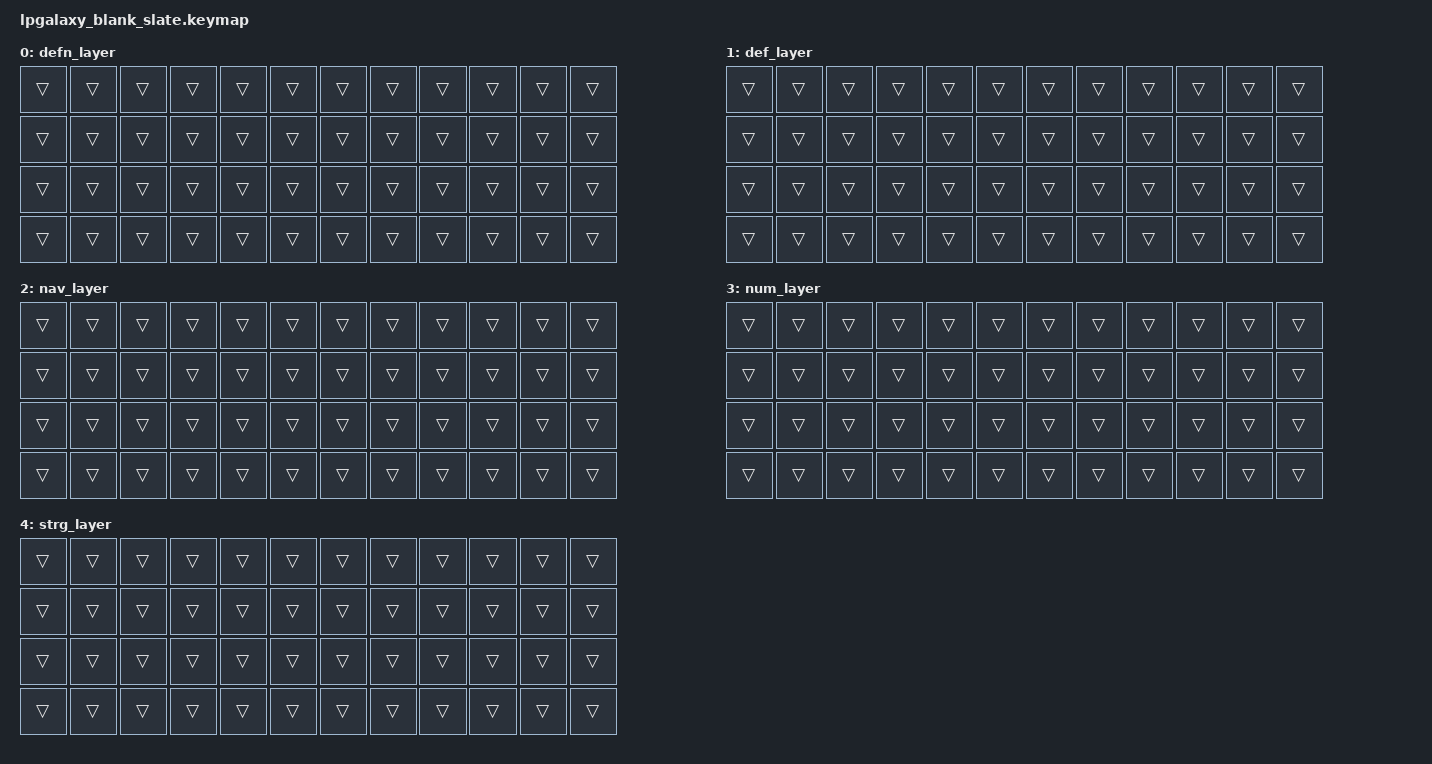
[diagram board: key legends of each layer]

#include <behaviors.dtsi>
#include <dt-bindings/zmk/keys.h>
#include <dt-bindings/zmk/bt.h>
#include <dt-bindings/zmk/outputs.h>

#include "../zmk-nodefree-config/helper.h"
#include "../zmk-nodefree-config/keypos_def/keypos_48keys.h"
//#include "../zmk-nodefree-config/international_chars/german.dtsi"

#define ___ &trans
#define XXX &none

#define DEF         0
#define SHIF        1
#define NAV         2 
#define NUM         3
#define STRG        4

#include "german.dtsi"
#include "functions.dtsi"
#include "combos.dtsi" //muss nach den layerdefs sein
#include "layer_one.dtsi"
#include "layer_two.dtsi"

/*ZMK_LAYER(default_layer,
&kp J	&d_w	&u_accent	&a_accent	&x_accenti		&p_sqbr	&h_brac	&l_slash	&m_cbrac	&g_csqbrac
&c_strg	&t_nav	&i_num	&e_accent	&o_accent		&kp B	&kp N	&r_apos	&s_ss	&enter_strg
&kp F	&kp V	&udia_accent	&kp DE_ADIA	&odia_accent		&kp DE_Y	&td_z_at	&sl 1	&td_comm_quest	&k_q
	___  ___	___	&sl 1	&dot_excl		&kp BSPC	&space_nav		___	___  ___
)*/

ZMK_LAYER(defn_layer,
 ___ ___ ___ ___ ___ ___ ___ ___ ___ ___ ___ ___
  ___ ___ ___ ___ ___ ___ ___ ___ ___ ___ ___ ___
   ___ ___ ___ ___ ___ ___ ___ ___ ___ ___ ___ ___
    ___ ___ ___ ___ ___ ___ ___ ___ ___ ___ ___ ___
    )

ZMK_LAYER(def_layer,
 ___ ___ ___ ___ ___ ___ ___ ___ ___ ___ ___ ___
  ___ ___ ___ ___ ___ ___ ___ ___ ___ ___ ___ ___
   ___ ___ ___ ___ ___ ___ ___ ___ ___ ___ ___ ___
    ___ ___ ___ ___ ___ ___ ___ ___ ___ ___ ___ ___
    )

/*ZMK_LAYER(shifted_layer,
&kp S(J)	&D_W	&U_ACCENT	&A_ACCENT	&X_ACCENTI		&P_larrow	&H_lcurl	&L_bslsh	&M_rcurl	&G_rarrow
&kp S(C) 	&kp S(T)	&kp S(I)	&E_ACCENT	&O_ACCENT		&kp S(B)	&kp S(N)	&kp S(R) 	&kp S(S)	&senter_center
&kp S(F)	&kp S(V)	&UDIA_ACCENT	&kp S(DE_ADIA)	&ODIA_ACCENT		&kp S(DE_Y)	&kp S(DE_Z)	&minus_unds	&kp DE_SEMI	&K_Q
___ ___ ___ 			&kp DE_DQT	&kp DE_COLN		&kp C(BSPC)	&kp SPACE		 ___ ___ ___	
)*/

ZMK_LAYER(nav_layer,
 ___ ___ ___ ___ ___ ___ ___ ___ ___ ___ ___ ___
  ___ ___ ___ ___ ___ ___ ___ ___ ___ ___ ___ ___
   ___ ___ ___ ___ ___ ___ ___ ___ ___ ___ ___ ___
    ___ ___ ___ ___ ___ ___ ___ ___ ___ ___ ___ ___
    )

ZMK_LAYER(num_layer,
 ___ ___ ___ ___ ___ ___ ___ ___ ___ ___ ___ ___
  ___ ___ ___ ___ ___ ___ ___ ___ ___ ___ ___ ___
   ___ ___ ___ ___ ___ ___ ___ ___ ___ ___ ___ ___
    ___ ___ ___ ___ ___ ___ ___ ___ ___ ___ ___ ___
    )

ZMK_LAYER(strg_layer,
 ___ ___ ___ ___ ___ ___ ___ ___ ___ ___ ___ ___
  ___ ___ ___ ___ ___ ___ ___ ___ ___ ___ ___ ___
   ___ ___ ___ ___ ___ ___ ___ ___ ___ ___ ___ ___
    ___ ___ ___ ___ ___ ___ ___ ___ ___ ___ ___ ___)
